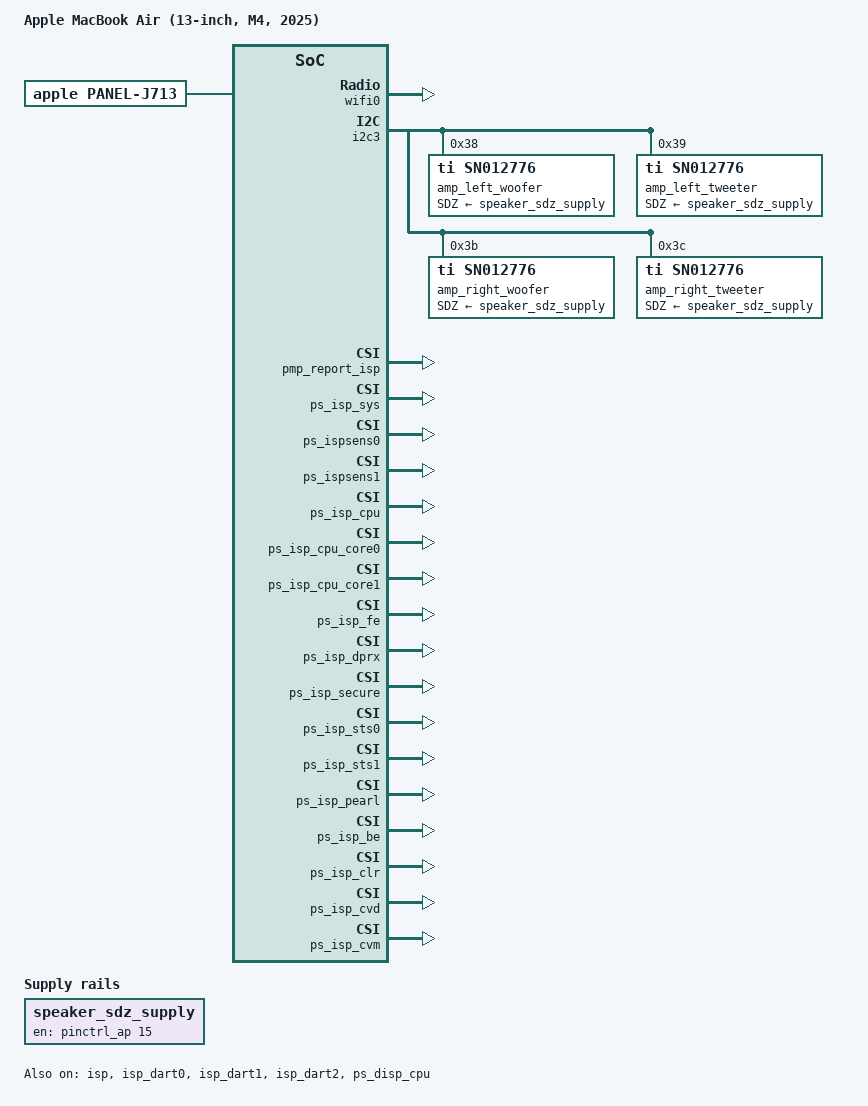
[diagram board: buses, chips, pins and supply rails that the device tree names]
// SPDX-License-Identifier: GPL-2.0+ OR MIT
/*
 * Apple MacBook Air (13-inch, M4, 2025)
 *
 * target-type: J713
 *
 * Copyright The Asahi Linux Contributors
 */

/dts-v1/;

#include "t8132.dtsi"
#include "t8132-jxxx.dtsi"
#include "t8132-j71x.dtsi"

/ {
	compatible = "apple,j713", "apple,t8132", "apple,arm-platform";
	model = "Apple MacBook Air (13-inch, M4, 2025)";

	sound {
		compatible = "apple,j713-macaudio", "apple,macaudio";
		model = "MacBook Air J713";

		dai-link@0 {
			link-name = "Speakers";
			/*
			 * The MCA receives sense data from both ports at once, and
			 * a port's line keeps its last level after its amps' slots.
			 * As in the ADT amp-tx-zd-config, the first amp on each
			 * port drives zeros in the other port's slots.
			 */
			dai-tdm-idle-mode-0 = "zero";
			dai-tdm-idle-mode-2 = "zero";
			dai-tdm-slot-tx-idle-mask-0 = <0xfff0f0f0>;
			dai-tdm-slot-tx-idle-mask-2 = <0xff0f0f0f>;

			cpu {
				sound-dai = <&mca 0>, <&mca 1>;
			};
			codec {
				sound-dai = <&amp_left_woofer>, <&amp_left_tweeter>,
					    <&amp_right_woofer>, <&amp_right_tweeter>;
			};
		};

		dai-link@1 {
			link-name = "Headphone Jack";

			cpu {
				sound-dai = <&mca 2>;
			};
			codec {
				sound-dai = <&jack_codec>;
			};
		};
	};
};

&dcp {
	panel: panel {
		compatible = "apple,panel-j713", "apple,panel";
		/*
		 * Unverified on J713: dimensions and brightness are taken from
		 * the M2 MacBook Air 13" (J413), which uses a 13.6" panel of the
		 * same size.
		 */
		width-mm = <290>;
		height-mm = <189>;
		adj-height-mm = <181>;
		apple,max-brightness = <525>;
	};
};

/*
 * The J713 radio module is "garden" (ADT /arm-io/wlan module-instance).
 * m1n1 adds the antenna SKU, MAC address and calibration from the ADT.
 */
&wifi0 {
	brcm,board-type = "apple,garden";
};

&bluetooth0 {
	brcm,board-type = "apple,garden";
};

&aop_audio {
	apple,chassis-name = "J713";
	apple,machine-kind = "MacBook Air";
};

&mca {
	/* Speakers and their sense on cluster 0, the jack on cluster 2 */
	dmas = <&admac 0>, <&admac 1>, <&admac 4>;
	dma-names = "tx0a", "rx0b", "tx2a";
};

/*
 * Speakers: four SN012776 amplifiers on i2c3 (ADT audio-speaker*) with one
 * shared SDZ line (AP GPIO 15). The sound card's codec order gives the ADT
 * rx_slot TX slots (0x38 0, 0x3b 1, 0x39 2, 0x3c 3); V/I sense slots are the
 * ADT speaker-config ones. The left pair is on MCA port 0 and the right pair on
 * port 1, both fed from cluster 0. Output stays at the macaudio safe limit
 * until speakersafetyd runs.
 */
/ {
	speaker_sdz_supply: regulator-speaker-sdz {
		compatible = "regulator-fixed";
		regulator-name = "speaker-sdz";
		gpio = <&pinctrl_ap 15 GPIO_ACTIVE_HIGH>;
		enable-active-high;
		startup-delay-us = <2000>;
	};
};

&i2c3 {
	status = "okay";

	amp_left_woofer: amplifier@38 {
		compatible = "ti,sn012776", "ti,tas2764";
		reg = <0x38>;
		#sound-dai-cells = <0>;
		sound-name-prefix = "Left Woofer";
		SDZ-supply = <&speaker_sdz_supply>;
		ti,vmon-slot-no = <0>;
		ti,imon-slot-no = <2>;
	};

	amp_left_tweeter: amplifier@39 {
		compatible = "ti,sn012776", "ti,tas2764";
		reg = <0x39>;
		#sound-dai-cells = <0>;
		sound-name-prefix = "Left Tweeter";
		SDZ-supply = <&speaker_sdz_supply>;
		ti,vmon-slot-no = <8>;
		ti,imon-slot-no = <10>;
	};

	amp_right_woofer: amplifier@3b {
		compatible = "ti,sn012776", "ti,tas2764";
		reg = <0x3b>;
		#sound-dai-cells = <0>;
		sound-name-prefix = "Right Woofer";
		SDZ-supply = <&speaker_sdz_supply>;
		ti,vmon-slot-no = <4>;
		ti,imon-slot-no = <6>;
	};

	amp_right_tweeter: amplifier@3c {
		compatible = "ti,sn012776", "ti,tas2764";
		reg = <0x3c>;
		#sound-dai-cells = <0>;
		sound-name-prefix = "Right Tweeter";
		SDZ-supply = <&speaker_sdz_supply>;
		ti,vmon-slot-no = <12>;
		ti,imon-slot-no = <14>;
	};
};

&isp {
	/*
	 * ADT isp "sensor-type" is 23. Asahi uses sensor-type as the boot
	 * argument platform-id; unconfirmed for J713.
	 */
	apple,platform-id = <23>;

	sensor-presets {
		/*
		 * Config 0 reads 3072 x 3024. The lens's image circle does not
		 * cover that window: in J713 frames it has a radius of about
		 * 1570 pixels, centred about 58 pixels above the window's
		 * centre. A full-width 16:9 crop puts all four corners outside
		 * it; this 2560 x 1440 crop is centred on the circle and stays
		 * about 100 pixels inside it, and scales by exactly 2.
		 */
		preset0 {
			apple,config-index = <0>;
			apple,input-size = <3072 3024>;
			apple,output-size = <1280 720>;
			apple,crop = <256 736 2560 1440>;
		};
	};
};

&mtp_hid {
	multi-touch {
		/* Firmware packaging name is board-specific, not an ADT path. */
		firmware-name = "apple/tpmtfw-j713.bin";
	};
};

/* External DP wiring is build-tested; physical ports remain unqualified. */
#include "t8132-air-dp-altmode.dtsi"

&smc_hwmon {
	/* Slow SMC temperature estimates; physical sensor locations are unknown. */
	temperature-TVS0 {
		label = "Chassis Estimate TVS0";
		apple,key-id = "TVS0";
	};

	temperature-TVS1 {
		label = "Chassis Estimate TVS1";
		apple,key-id = "TVS1";
	};
};

/* Local qualification: enable the camera only on the 13-inch J713. */
&isp {
	status = "okay";
};

&isp_dart0 {
	status = "okay";
};

&isp_dart1 {
	status = "okay";
};

&isp_dart2 {
	status = "okay";
};

&pmp_report_isp {
	status = "okay";
};

&ps_isp_sys {
	status = "okay";
};

&ps_ispsens0 {
	status = "okay";
};

&ps_ispsens1 {
	status = "okay";
};

&ps_isp_cpu {
	status = "okay";
};

&ps_isp_cpu_core0 {
	status = "okay";
};

&ps_isp_cpu_core1 {
	status = "okay";
};

&ps_isp_fe {
	status = "okay";
};

&ps_isp_dprx {
	status = "okay";
};

&ps_isp_secure {
	status = "okay";
};

&ps_isp_sts0 {
	status = "okay";
};

&ps_isp_sts1 {
	status = "okay";
};

&ps_isp_pearl {
	status = "okay";
};

&ps_isp_be {
	status = "okay";
};

&ps_isp_clr {
	status = "okay";
};

&ps_isp_cvd {
	status = "okay";
};

&ps_isp_cvm {
	status = "okay";
};

/* Scope firmware-ID reporting to the board qualified with this camera. */
&pmp_report {
	apple,pmp = <&pmp>;
};

&pmp_report_isp {
	/* ISP's firmware record is notification-only, not acknowledged. */
	/delete-property/ apple,always-on;
	apple,boot-on;
};

&ps_isp_sys {
	/delete-property/ apple,always-on;
};

/* Experimental explicit ownership for primary-engine screen-off cycling. */
&dcp {
	power-domains = <&ps_disp_fe>, <&ps_disp_cpu>;
	power-domain-names = "fe", "cpu";
};
&ps_disp_cpu {
	status = "okay";
};
&ps_disp_fe {
	/delete-property/ apple,always-on;
};
&ps_disp_sys {
	/delete-property/ apple,always-on;
};
